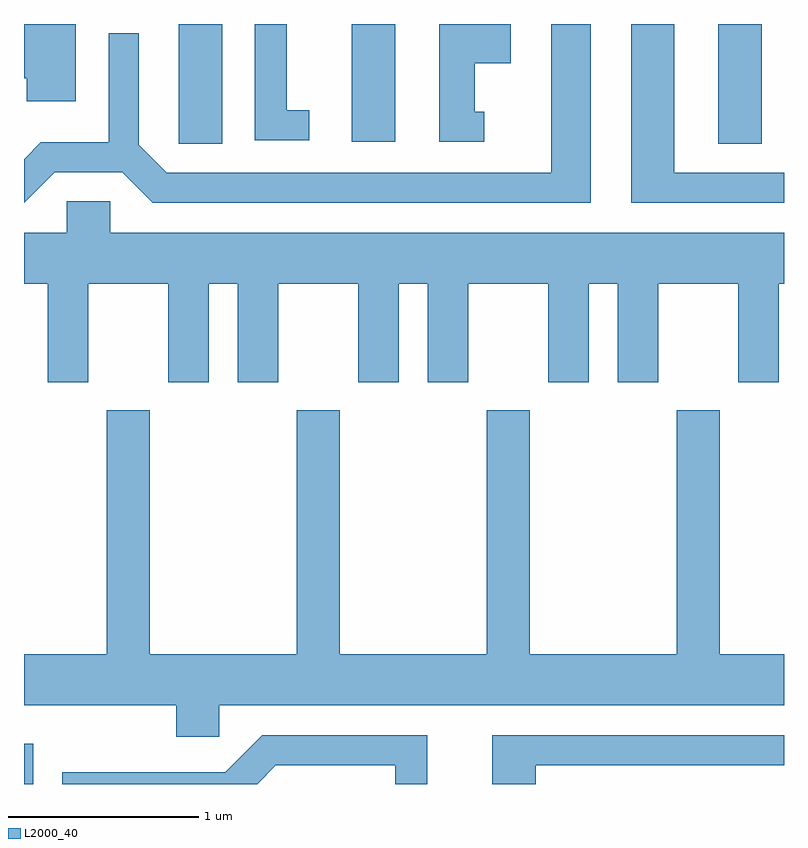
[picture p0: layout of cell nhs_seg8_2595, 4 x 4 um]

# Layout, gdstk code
import gdstk
lib = gdstk.Library(unit=1e-6, precision=1e-09)
def R(c, l, rs):  # rectangles x0, y0, x1, y1
    for r in rs: c.add(gdstk.rectangle(r[:2], r[2:], *l))
def P(c, l, *ps):  # polygons
    for p in ps: c.add(gdstk.Polygon(p, *l))
L2000_40 = (2000, 40)

nhs_seg8_2595 = lib.new_cell('nhs_seg8_2595')
R(nhs_seg8_2595, L2000_40, [(261.611,1940.342,261.659,1940.554), (262.426,1943.711,262.654,1944.342), (265.266,1943.711,265.494,1944.342), (263.336,1943.721,263.564,1944.342)])
P(nhs_seg8_2595, L2000_40, [(265.611,1943.559),(265.034,1943.559),(265.034,1944.342),(264.806,1944.342),(264.806,1943.401),(265.611,1943.401)],
  [(263.113,1943.889),(262.994,1943.889),(262.994,1944.342),(262.826,1944.342),(262.826,1943.731),(263.113,1943.731)],
  [(264.594,1944.342),(264.386,1944.342),(264.386,1943.559),(262.362,1943.559),(262.214,1943.707),(262.214,1944.293),(262.056,1944.293),(262.056,1943.719),(261.699,1943.719),(261.611,1943.631),(261.611,1943.401),(261.772,1943.561),(262.129,1943.561),(262.289,1943.401),(264.594,1943.401)],
  [(264.033,1943.879),(263.984,1943.879),(263.984,1944.136),(264.174,1944.136),(264.174,1944.342),(263.796,1944.342),(263.796,1943.721),(264.033,1943.721)],
  [(261.884,1944.342),(261.611,1944.342),(261.611,1944.056),(261.626,1944.056),(261.626,1943.936),(261.884,1943.936)],
  [(261.949,1942.976),(262.371,1942.976),(262.371,1942.456),(262.584,1942.456),(262.584,1942.976),(262.736,1942.976),(262.736,1942.456),(262.949,1942.456),(262.949,1942.976),(263.371,1942.976),(263.371,1942.456),(263.584,1942.456),(263.584,1942.976),(263.736,1942.976),(263.736,1942.456),(263.949,1942.456),(263.949,1942.976),(264.371,1942.976),(264.371,1942.456),(264.584,1942.456),(264.584,1942.976),(264.736,1942.976),(264.736,1942.456),(264.949,1942.456),(264.949,1942.976),(265.371,1942.976),(265.371,1942.456),(265.584,1942.456),(265.584,1942.976),(265.611,1942.976),(265.611,1943.244),(262.064,1943.244),(262.064,1943.409),(261.836,1943.409),(261.836,1943.244),(261.611,1943.244),(261.611,1942.976),(261.736,1942.976),(261.736,1942.456),(261.949,1942.456)],
  [(262.639,1940.756),(265.611,1940.756),(265.611,1941.024),(265.274,1941.024),(265.274,1942.309),(265.046,1942.309),(265.046,1941.024),(264.274,1941.024),(264.274,1942.309),(264.046,1942.309),(264.046,1941.024),(263.274,1941.024),(263.274,1942.309),(263.046,1942.309),(263.046,1941.024),(262.274,1941.024),(262.274,1942.309),(262.046,1942.309),(262.046,1941.024),(261.611,1941.024),(261.611,1940.756),(262.411,1940.756),(262.411,1940.591),(262.639,1940.591)],
  [(262.937,1940.441),(263.566,1940.441),(263.566,1940.342),(263.734,1940.342),(263.734,1940.599),(262.864,1940.599),(262.669,1940.404),(261.811,1940.404),(261.811,1940.342),(262.838,1940.342)],
  [(264.304,1940.441),(265.611,1940.441),(265.611,1940.599),(264.076,1940.599),(264.076,1940.342),(264.304,1940.342)])

lib.write_gds('nhs_seg8_2595.gds')
